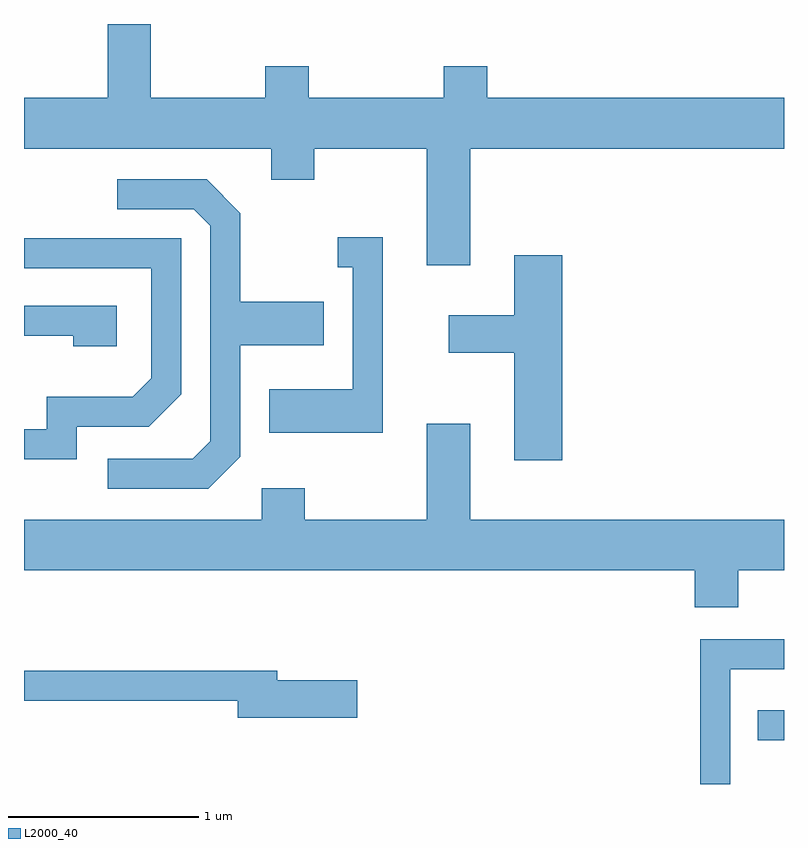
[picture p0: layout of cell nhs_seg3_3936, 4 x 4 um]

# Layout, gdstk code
import gdstk
lib = gdstk.Library(unit=1e-6, precision=1e-09)
def R(c, l, rs):  # rectangles x0, y0, x1, y1
    for r in rs: c.add(gdstk.rectangle(r[:2], r[2:], *l))
def P(c, l, *ps):  # polygons
    for p in ps: c.add(gdstk.Polygon(p, *l))
L2000_40 = (2000, 40)

nhs_seg3_3936 = lib.new_cell('nhs_seg3_3936')
R(nhs_seg3_3936, L2000_40, [(303.473,1236.121,303.611,1236.279)])
P(nhs_seg3_3936, L2000_40, [(301.959,1239.236),(303.611,1239.236),(303.611,1239.504),(302.049,1239.504),(302.049,1239.669),(301.821,1239.669),(301.821,1239.504),(301.109,1239.504),(301.109,1239.669),(300.881,1239.669),(300.881,1239.504),(300.279,1239.504),(300.279,1239.892),(300.051,1239.892),(300.051,1239.504),(299.611,1239.504),(299.611,1239.236),(300.911,1239.236),(300.911,1239.071),(301.139,1239.071),(301.139,1239.236),(301.731,1239.236),(301.731,1238.621),(301.959,1238.621)],
  [(300.749,1237.614),(300.749,1238.201),(301.189,1238.201),(301.189,1238.429),(300.749,1238.429),(300.749,1238.897),(300.572,1239.074),(300.103,1239.074),(300.103,1238.916),(300.504,1238.916),(300.591,1238.829),(300.591,1237.697),(300.499,1237.604),(300.053,1237.604),(300.053,1237.446),(300.582,1237.446)],
  [(301.499,1238.769),(301.263,1238.769),(301.263,1238.611),(301.341,1238.611),(301.341,1237.969),(300.901,1237.969),(300.901,1237.741),(301.499,1237.741)],
  [(299.889,1237.771),(300.267,1237.771),(300.439,1237.944),(300.439,1238.764),(299.611,1238.764),(299.611,1238.606),(300.281,1238.606),(300.281,1238.027),(300.184,1237.929),(299.731,1237.929),(299.731,1237.759),(299.611,1237.759),(299.611,1237.601),(299.889,1237.601)],
  [(302.444,1238.674),(302.191,1238.674),(302.191,1238.359),(301.846,1238.359),(301.846,1238.161),(302.191,1238.161),(302.191,1237.596),(302.444,1237.596)],
  [(300.099,1238.409),(299.611,1238.409),(299.611,1238.251),(299.871,1238.251),(299.871,1238.196),(300.099,1238.196)],
  [(301.959,1237.789),(301.731,1237.789),(301.731,1237.284),(301.089,1237.284),(301.089,1237.449),(300.861,1237.449),(300.861,1237.284),(299.611,1237.284),(299.611,1237.016),(303.141,1237.016),(303.141,1236.821),(303.369,1236.821),(303.369,1237.016),(303.611,1237.016),(303.611,1237.284),(301.959,1237.284)],
  [(303.329,1236.496),(303.611,1236.496),(303.611,1236.654),(303.171,1236.654),(303.171,1235.892),(303.329,1235.892)],
  [(301.364,1236.439),(300.944,1236.439),(300.944,1236.489),(299.611,1236.489),(299.611,1236.331),(300.736,1236.331),(300.736,1236.241),(301.364,1236.241)])

lib.write_gds('nhs_seg3_3936.gds')
